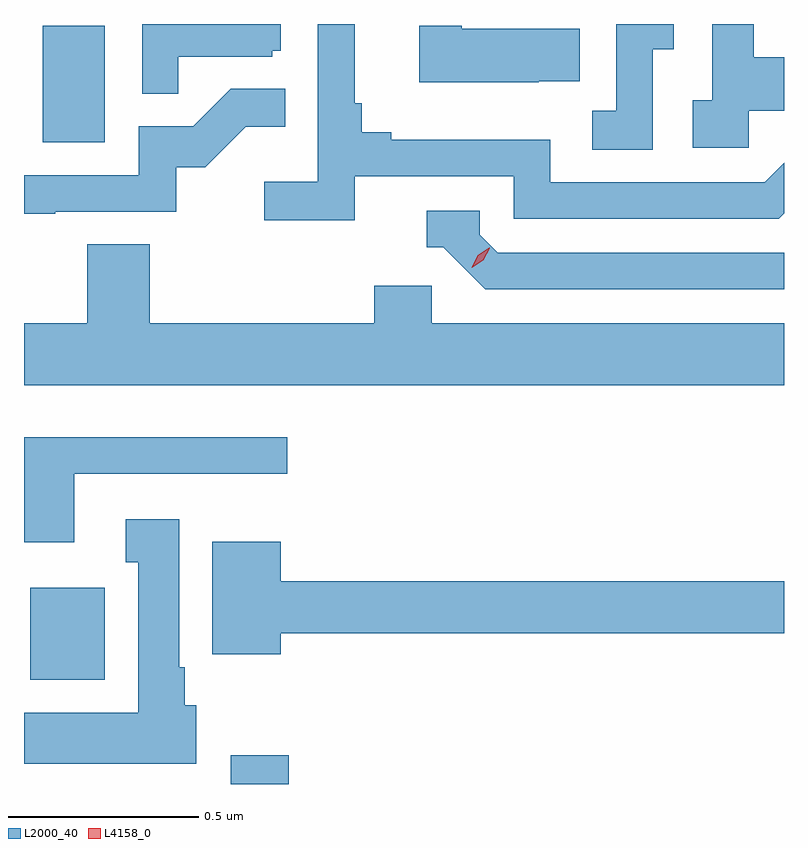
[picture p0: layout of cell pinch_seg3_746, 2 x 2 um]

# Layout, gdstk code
import gdstk
lib = gdstk.Library(unit=1e-6, precision=1e-09)
def R(c, l, rs):  # rectangles x0, y0, x1, y1
    for r in rs: c.add(gdstk.rectangle(r[:2], r[2:], *l))
def P(c, l, *ps):  # polygons
    for p in ps: c.add(gdstk.Polygon(p, *l))
L2000_40 = (2000, 40)
L4158_0 = (4158, 0)

pinch_seg3_746 = lib.new_cell('pinch_seg3_746')
R(pinch_seg3_746, L2000_40, [(868.889,737.163,869.042,737.239), (868.361,737.438,868.558,737.68), (868.394,738.852,868.558,739.159)])
P(pinch_seg3_746, L2000_40, [(868.751,739.077),(868.998,739.077),(868.998,739.092),(869.02,739.092),(869.02,739.163),(868.656,739.163),(868.656,738.979),(868.751,738.979)],
  [(870,739.096),(870.055,739.096),(870.055,739.163),(869.904,739.163),(869.904,738.935),(869.841,738.935),(869.841,738.832),(870,738.832)],
  [(869.216,738.762),(869.634,738.762),(869.634,738.651),(870.331,738.651),(870.345,738.665),(870.345,738.798),(870.294,738.747),(869.73,738.747),(869.73,738.859),(869.311,738.859),(869.311,738.878),(869.234,738.878),(869.234,738.955),(869.215,738.955),(869.215,739.163),(869.118,739.163),(869.118,738.748),(868.977,738.748),(868.977,738.646),(869.216,738.646)],
  [(870.252,738.935),(870.345,738.935),(870.345,739.075),(870.265,739.075),(870.265,739.163),(870.156,739.163),(870.156,738.962),(870.105,738.962),(870.105,738.837),(870.252,738.837)],
  [(869.699,739.013),(869.807,739.013),(869.807,739.15),(869.497,739.15),(869.497,739.158),(869.385,739.158),(869.385,739.01),(869.699,739.01)],
  [(868.427,738.669),(868.746,738.669),(868.746,738.786),(868.822,738.786),(868.929,738.893),(869.033,738.893),(869.033,738.992),(868.889,738.992),(868.791,738.894),(868.647,738.894),(868.647,738.765),(868.345,738.765),(868.345,738.664),(868.427,738.664)],
  [(870.345,738.561),(869.592,738.561),(869.544,738.609),(869.544,738.672),(869.405,738.672),(869.405,738.576),(869.448,738.576),(869.559,738.465),(870.345,738.465)],
  [(870.345,738.376),(869.418,738.376),(869.418,738.474),(869.267,738.474),(869.267,738.376),(868.676,738.376),(868.676,738.584),(868.511,738.584),(868.511,738.376),(868.345,738.376),(868.345,738.212),(870.345,738.212)],
  [(868.477,737.979),(869.038,737.979),(869.038,738.076),(868.345,738.076),(868.345,737.799),(868.477,737.799)],
  [(868.798,737.37),(868.768,737.37),(868.768,737.47),(868.753,737.47),(868.753,737.86),(868.613,737.86),(868.613,737.747),(868.646,737.747),(868.646,737.35),(868.345,737.35),(868.345,737.216),(868.798,737.216)],
  [(869.02,737.56),(870.345,737.56),(870.345,737.696),(869.02,737.696),(869.02,737.8),(868.841,737.8),(868.841,737.504),(869.02,737.504)])
P(pinch_seg3_746, L4158_0, [(869.523,738.521),(869.523,738.521),(869.539,738.554),(869.569,738.574),(869.57,738.574),(869.57,738.573),(869.554,738.541),(869.523,738.521)])

lib.write_gds('pinch_seg3_746.gds')
